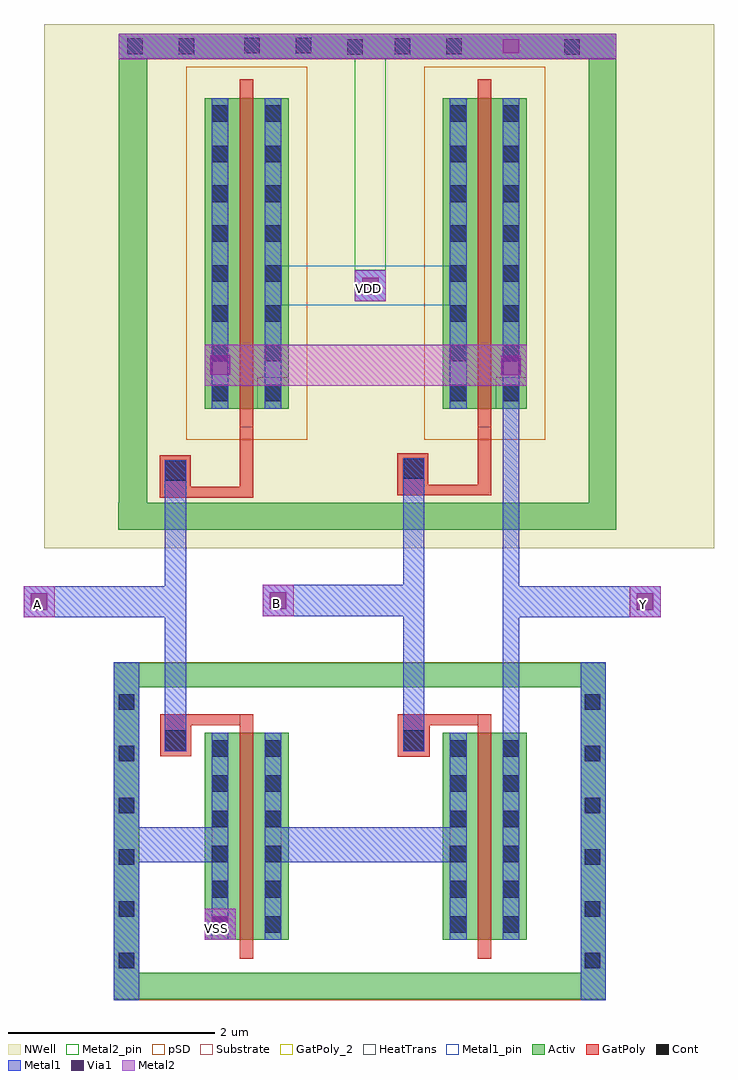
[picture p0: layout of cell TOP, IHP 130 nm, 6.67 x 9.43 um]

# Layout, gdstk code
import gdstk
lib = gdstk.Library(unit=1e-6, precision=5e-09)
def R(c, l, rs):  # rectangles x0, y0, x1, y1
    for r in rs: c.add(gdstk.rectangle(r[:2], r[2:], *l))
def A(c, l, x, y, w, h, nx, ny, dx, dy):  # array of equal rectangles
    R(c, l, [(x+i*dx, y+j*dy, x+i*dx+w, y+j*dy+h) for i in range(nx) for j in range(ny)])
Activ = (1, 0)
GatPoly = (5, 0)
GatPoly_2 = (5, 2)
Cont = (6, 0)
Metal1 = (8, 0)
Metal1_pin = (8, 2)
Metal2 = (10, 0)
Metal2_pin = (10, 2)
pSD = (14, 0)
Via1 = (19, 0)
NWell = (31, 0)
Substrate = (40, 0)
HeatTrans = (51, 0)

pmos_1 = lib.new_cell('pmos$1')
R(pmos_1, Activ, [(0,0,0.3,0.3), (0,0,0.81,3), (0.51,0,0.81,0.3)])
R(pmos_1, GatPoly, [(0.34,-0.18,0.47,3.18), (0.34,-0.18,0.47,3.18)])
A(pmos_1, Cont, 0.07, 0.07, 0.16, 0.16, 1, 7, 0, 0.385)
A(pmos_1, Cont, 0.58, 0.07, 0.16, 0.16, 1, 7, 0, 0.385)
R(pmos_1, Cont, [(0.07,2.77,0.23,2.93), (0.58,2.77,0.74,2.93)])
R(pmos_1, Metal1, [(0.07,0,0.23,3), (0.07,0,0.23,3), (0.58,0,0.74,3), (0.58,0,0.74,3)])
R(pmos_1, pSD, [(-0.18,-0.3,0.99,3.3)])
R(pmos_1, NWell, [(-0.31,-0.31,1.12,3.31)])
R(pmos_1, Substrate, [(0.51,0,0.81,0.3)])
R(pmos_1, HeatTrans, [(0.34,-0.18,0.47,3.18)])
pmos_1.add(gdstk.Label('pmos', (0.405,1.5), layer=63, texttype=0))
pmos_1.add(gdstk.Label('pmos', (0.405,1.5), layer=51, texttype=0))

nmos_1 = lib.new_cell('nmos$1')
R(nmos_1, Activ, [(0,0,0.3,0.3), (0,0,0.81,2), (0.51,0,0.81,0.3)])
R(nmos_1, GatPoly, [(0.34,-0.18,0.47,2.18)])
R(nmos_1, GatPoly_2, [(0.34,-0.18,0.47,2.18)])
A(nmos_1, Cont, 0.07, 0.07, 0.16, 0.16, 1, 6, 0, 0.34)
A(nmos_1, Cont, 0.58, 0.07, 0.16, 0.16, 1, 6, 0, 0.34)
R(nmos_1, Metal1, [(0.07,0,0.23,2), (0.58,0,0.74,2)])
R(nmos_1, Metal1_pin, [(0.07,0,0.23,2), (0.58,0,0.74,2)])
R(nmos_1, HeatTrans, [(0.34,-0.18,0.47,2.18)])
nmos_1.add(gdstk.Label('nmos', (0.405,1), layer=63, texttype=0))
nmos_1.add(gdstk.Label('nmos', (0.405,1), layer=51, texttype=0))

top = lib.new_cell('TOP')
R(top, Activ, [(-0.75,0.25,4.005,0.51), (-0.75,0.51,-0.5,3.265), (3.765,0.51,4.005,3.265), (-0.75,3.265,4.005,3.505), (-0.705,4.79,4.105,5.05), (-0.7,5.05,-0.425,9.34), (3.84,5.05,4.105,9.34), (-0.7,9.34,4.105,9.58)])
R(top, GatPoly, [(1.995,2.595,2.305,2.9), (-0.3,2.6,0,2.9), (-0.3,2.6,0,2.9), (-0.3,2.9,0.47,3.005), (-0.3,2.9,0.47,3.005), (1.995,2.9,2.77,3.005), (-0.305,5.1,0.6,5.205), (-0.305,5.1,0.6,5.205), (1.99,5.12,2.895,5.225), (1.99,5.12,2.9,5.225), (-0.305,5.205,-0.005,5.51), (-0.305,5.205,-0.005,5.51), (0.47,5.205,0.6,5.78), (1.99,5.225,2.29,5.53), (1.99,5.225,2.29,5.53), (2.77,5.225,2.9,5.78)])
A(top, Cont, -0.7, 0.55, 0.15, 0.15, 1, 6, 0, 0.5)
A(top, Cont, 3.8, 0.55, 0.15, 0.15, 1, 6, 0, 0.5)
R(top, Cont, [(-0.255,2.65,-0.05,2.85), (-0.255,2.65,-0.05,2.85), (2.05,2.65,2.25,2.85), (-0.255,5.26,-0.05,5.46), (-0.255,5.26,-0.05,5.46), (2.05,5.28,2.25,5.48), (2.05,5.28,2.25,5.48), (1.505,9.38,1.655,9.53), (3.605,9.38,3.755,9.53), (-0.62,9.385,-0.47,9.535), (-0.12,9.385,0.03,9.535), (1.965,9.385,2.115,9.535), (2.465,9.385,2.615,9.535), (0.51,9.39,0.66,9.54), (1.01,9.39,1.16,9.54)])
R(top, Metal1, [(-0.75,0.245,-0.5,3.51), (3.765,0.245,4.005,3.51), (0.13,0.825,0.43,1.125), (-0.5,1.575,0.2,1.915), (0.87,1.575,2.5,1.915), (-0.255,2.65,-0.05,2.85), (-0.255,2.65,-0.05,2.85), (2.05,2.65,2.25,2.85), (3.01,2.825,3.17,5.96), (-0.255,2.85,-0.05,5.26), (2.05,2.85,2.25,5.28), (-1.62,3.945,-1.32,4.245), (-1.32,3.945,-0.26,4.245), (3.175,3.945,4.235,4.245), (4.235,3.945,4.535,4.245), (0.69,3.955,0.99,4.255), (0.99,3.955,2.05,4.255), (-0.255,5.26,-0.05,5.46), (-0.255,5.26,-0.05,5.46), (2.05,5.28,2.25,5.48), (2.05,5.28,2.25,5.48), (1.58,6.995,1.88,7.295), (-0.7,9.34,4.105,9.58)])
R(top, Metal1_pin, [(0.2,0.895,0.36,1.055), (-1.55,4.015,-1.39,4.175), (4.305,4.015,4.465,4.175), (0.76,4.025,0.92,4.185), (0.87,6.96,2.5,7.34), (1.65,7.065,1.81,7.225)])
R(top, Metal2, [(0.13,0.825,0.43,1.125), (-1.62,3.945,-1.32,4.245), (4.235,3.945,4.535,4.245), (0.69,3.955,0.99,4.255), (0.13,6.18,3.24,6.575), (1.58,6.995,1.88,7.295), (-0.7,9.335,4.105,9.58)])
R(top, Metal2_pin, [(0.2,0.89,0.36,1.055), (-1.55,4.01,-1.39,4.175), (4.305,4.01,4.465,4.175), (0.76,4.02,0.92,4.185), (1.65,7.06,1.81,7.225), (1.58,7.295,1.88,9.34)])
R(top, pSD, [(-0.75,0.245,4.005,0.51), (-0.75,0.51,-0.5,3.265), (3.765,0.51,4.005,3.265), (-0.75,3.265,4.005,3.51)])
R(top, Via1, [(0.2,0.895,0.36,1.055), (-1.55,4.015,-1.39,4.175), (4.305,4.015,4.465,4.175), (0.76,4.025,0.92,4.185), (2.995,6.28,3.185,6.47), (0.185,6.285,0.375,6.475), (1.65,7.065,1.81,7.225), (3.01,9.39,3.17,9.53)])
R(top, NWell, [(-1.42,4.61,5.055,9.675)])
top.add(gdstk.Reference(pmos_1, (0.13,5.96)))
top.add(gdstk.Reference(pmos_1, (2.43,5.96)))
top.add(gdstk.Reference(nmos_1, (0.13,0.825)))
top.add(gdstk.Reference(nmos_1, (2.43,0.825)))
top.add(gdstk.Label('VSS', (0.24,0.935), layer=10, texttype=2))
top.add(gdstk.Label('A', (-1.485,4.07), layer=10, texttype=2))
top.add(gdstk.Label('Y', (4.37,4.07), layer=10, texttype=2))
top.add(gdstk.Label('VDD', (1.715,7.12), layer=10, texttype=2))
top.add(gdstk.Label('B', (0.825,4.08), layer=10, texttype=2))

lib.write_gds('TOP.gds')
